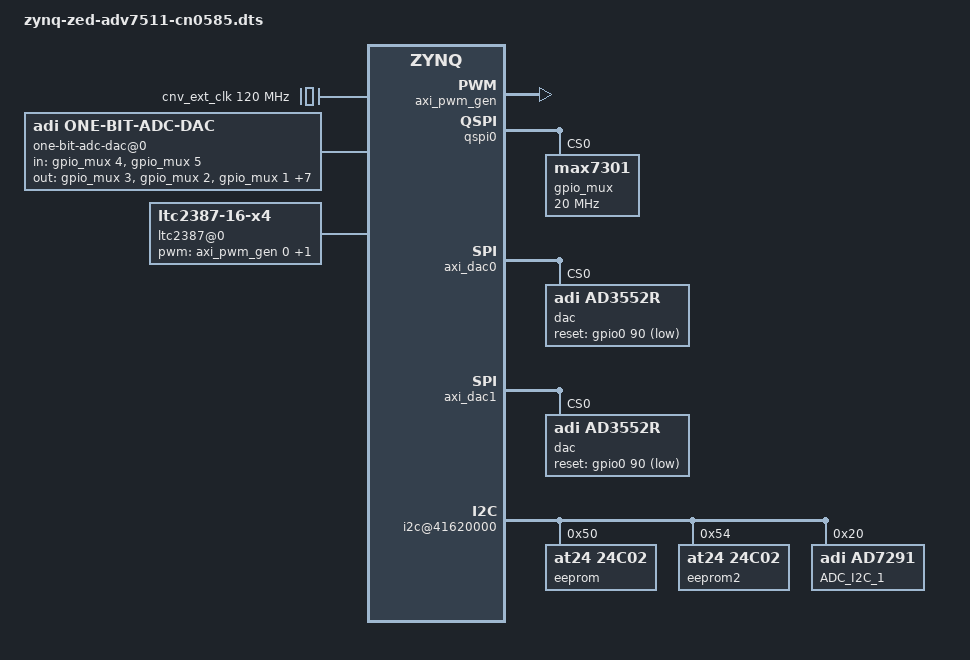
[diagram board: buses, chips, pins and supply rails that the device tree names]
/dts-v1/;

#include "zynq-zed.dtsi"
#include "zynq-zed-adv7511.dtsi"
#include <dt-bindings/interrupt-controller/irq.h>
#include <dt-bindings/gpio/gpio.h>
#include <dt-bindings/pwm/pwm.h>

/ {
	clocks {
		cnv_ext_clk: ext-clk {
			#clock-cells = <0x0>;
			compatible = "fixed-clock";
			clock-frequency = <120000000>;
			clock-output-names = "cnv_ext_clk";
		};
	};

	one-bit-adc-dac@0 {
		compatible = "adi,one-bit-adc-dac";
		#address-cells = <1>;
		#size-cells = <0>;

		in-gpios =  <&gpio_mux 4 GPIO_ACTIVE_HIGH>,
				<&gpio_mux 5 GPIO_ACTIVE_HIGH>;
		out-gpios = <&gpio_mux 3 GPIO_ACTIVE_HIGH>,
				<&gpio_mux 2 GPIO_ACTIVE_HIGH>,
				<&gpio_mux 1 GPIO_ACTIVE_HIGH>,
				<&gpio_mux 0 GPIO_ACTIVE_HIGH>,
				<&gpio_mux 6 GPIO_ACTIVE_HIGH>,
				<&gpio_mux 7 GPIO_ACTIVE_HIGH>,
				<&gpio_mux 11 GPIO_ACTIVE_HIGH>,
				<&gpio_mux 12 GPIO_ACTIVE_HIGH>,
				<&gpio_mux 13 GPIO_ACTIVE_HIGH>,
				<&gpio_mux 14 GPIO_ACTIVE_HIGH>;

		channel@0 {
			reg = <0>;
			label = "GPIO4_VIO";
		};
		channel@1 {
			reg = <1>;
			label = "GPIO5_VIO";
		};
		channel@2 {
			reg = <2>;
			label = "GPIO0_VIO";
		};
		channel@3 {
			reg = <3>;
			label = "GPIO1_VIO";
		};
		channel@4 {
			reg = <4>;
			label = "GPIO2_VIO";
		};
		channel@5 {
			reg = <5>;
			label = "GPIO3_VIO";
		};
		channel@6 {
			reg = <6>;
			label = "GPIO6_VIO";
		};
		channel@7 {
			reg = <7>;
			label = "GPIO7_VIO";
		};
		channel@8 {
			reg = <8>;
			label = "PAD_ADC0";
		};
		channel@9 {
			reg = <9>;
			label = "PAD_ADC1";
		};
		channel@10 {
			reg = <10>;
			label = "PAD_ADC2";
		};
		channel@11 {
			reg = <11>;
			label = "PAD_ADC3";
		};
	};
};

&fpga_axi {
	axi_pwm_gen: pwm@44B10000 {
		compatible = "adi,axi-pwmgen";
		reg = <0x44B10000 0x1000>;
		label = "ltc2387_if";
		#pwm-cells = <2>;
		clocks = <&cnv_ext_clk>;
	};

	ref_clk: clock-controller@44B00000 {
		compatible = "adi,axi-clkgen-2.00.a";
		reg = <0x44B00000 0x10000>;
		#clock-cells = <0>;
		clocks = <&clkc 15>, <&clkc 15>;
		clock-names = "s_axi_aclk", "clkin1";
		clock-output-names = "ref_clk";
	};

	rx_dma: dma-controller@44A40000 {
		compatible = "adi,axi-dmac-1.00.a";
		reg = <0x44A40000 0x1000>;
		#dma-cells = <1>;
		interrupt-parent = <&intc>;
		interrupts = <0 57 IRQ_TYPE_LEVEL_HIGH>;
		clocks = <&clkc 15>;

		adi,channels {
			#size-cells = <0>;
			#address-cells = <1>;

			dma-channel@0 {
				reg = <0>;
				adi,source-bus-width = <64>;
				adi,source-bus-type = <2>;
				adi,destination-bus-width = <64>;
				adi,destination-bus-type = <0>;
			};
		};
	};

	ltc2387@0{
		compatible = "ltc2387-16-x4";
		pwms = <&axi_pwm_gen 0 0
			&axi_pwm_gen 1 0>;
		pwm-names = "cnv", "clk_en";
		clocks = <&ref_clk>;
		dmas = <&rx_dma 0>;
		dma-names = "rx";
		adi,use-two-lanes;
	};

	qspi0: spi@0x44B20000 {
		#address-cells = <1>;
		#size-cells = <0>;
		reg = <0x44B20000 0x1000>;
		num-cs = <0x2>;
		compatible = "xlnx,xps-spi-2.00.a";
		bits-per-word = <16>;
		fifo-size = <16>;
		clock-names = "ext_spi_clk", "s_axi_aclk";
		clocks = <&clkc 15>, <&clkc 15>;
		interrupt-names = "ip2intc_irpt";
		interrupt-parent = <&intc>;
		interrupts = <0 52 IRQ_TYPE_LEVEL_HIGH>;

		gpio_mux: max7301@0 {
			compatible = "max7301";
			reg = <0>;
			spi-max-frequency = <20000000>;
			#gpio-cells = <2>;
			gpio-controller;
		};
	};

	dac0_tx_dma: dma-controller@0x44D30000 {
		compatible = "adi,axi-dmac-1.00.a";
		reg = <0x44D30000 0x10000>;
		#dma-cells = <1>;
		interrupt-parent = <&intc>;
		interrupts = <0 34 IRQ_TYPE_LEVEL_HIGH>;
		clocks = <&clkc 15>;

		adi,channels {
			#size-cells = <0>;
			#address-cells = <1>;

			dma-channel@0 {
				reg = <0>;
				adi,source-bus-width = <32>;
				adi,source-bus-type = <0>;
				adi,destination-bus-width = <32>;
				adi,destination-bus-type = <1>;
			};
		};
	};

	dac1_tx_dma: dma-controller@0x44E30000 {
		compatible = "adi,axi-dmac-1.00.a";
		reg = <0x44E30000 0x10000>;
		#dma-cells = <1>;
		interrupt-parent = <&intc>;
		interrupts = <0 33 IRQ_TYPE_LEVEL_HIGH>;
		clocks = <&clkc 15>;

		adi,channels {
			#size-cells = <0>;
			#address-cells = <1>;

			dma-channel@0 {
				reg = <0>;
				adi,source-bus-width = <32>;
				adi,source-bus-type = <0>;
				adi,destination-bus-width = <32>;
				adi,destination-bus-type = <1>;
			};
		};
	};

	axi_dac0: spi@44D00000 {
		compatible = "adi,axi-ad3552r";
		reg = <0x44D00000 0x1000>;
		dmas = <&dac0_tx_dma 0>;
		dma-names = "tx";
		#io-backend-cells = <0>;
		clocks = <&clkc 15>, <&ref_clk>;
		clock-names = "s_axi_aclk", "dac_clk";

		#address-cells = <1>;
		#size-cells = <0>;

		dac@0 {
			reg = <0>;
			compatible = "adi,ad3552r";
			reset-gpios = <&gpio0 90 GPIO_ACTIVE_LOW>;
			io-backends = <&axi_dac0>;

			spi-3-wire;
			spi-tx-bus-width = <4>;
			spi-rx-bus-width = <4>;

			adi,qspi-state = "high";
			#address-cells = <1>;
			#size-cells = <0>;

			channel@0 {
				reg = <0>;
				adi,output-range-microvolt = <0 5000000>;
			};

			channel@1 {
				reg = <1>;
				adi,output-range-microvolt = <0 5000000>;
			};
		};

	};

	axi_dac1: spi@44E00000 {
		compatible = "adi,axi-ad3552r";
		reg = <0x44E00000 0x1000>;
		dmas = <&dac1_tx_dma 0>;
		dma-names = "tx";
		#io-backend-cells = <0>;
		clocks = <&clkc 15>, <&ref_clk>;
		clock-names = "s_axi_aclk", "dac_clk";

		#address-cells = <1>;
		#size-cells = <0>;

		dac@0 {
			reg = <0>;
			compatible = "adi,ad3552r";
			reset-gpios = <&gpio0 90 GPIO_ACTIVE_LOW>;
			io-backends = <&axi_dac1>;

			spi-3-wire;
			spi-tx-bus-width = <4>;
			spi-rx-bus-width = <4>;

			adi,qspi-state = "high";
			#address-cells = <1>;
			#size-cells = <0>;

			channel@0 {
				reg = <0>;
				adi,output-range-microvolt = <0 5000000>;
			};

			channel@1 {
				reg = <1>;
				adi,output-range-microvolt = <0 5000000>;
			};
		};
	};

	
	mwipcore@43c00000 {
		compatible = "mathworks,mwipcore-v3.00";
		reg = <0x43C00000 0xfffff>;
		#address-cells = <1>;
		#size-cells = <0>;
		mmwr-channel@0{
				reg = <0x0>;
				compatible = "mathworks,mm-write-channel-v1.00";
		};
		mmrd-channel@1{
				reg = <0x1>;
				compatible = "mathworks,mm-read-channel-v1.00";
		};
	
		
	};

	i2c@41620000 {
		compatible = "xlnx,axi-iic-1.01.b", "xlnx,xps-iic-2.00.a";
		reg = <0x41620000 0x10000>;
		interrupt-parent = <&intc>;
		interrupts = <0 55 IRQ_TYPE_LEVEL_HIGH>;
		clocks = <&clkc 15>;
		clock-names = "pclk";

		#size-cells = <0>;
		#address-cells = <1>;

		eeprom@50 {
			compatible = "at24,24c02";
			reg = <0x50>;
		};
		eeprom2@54 {
			compatible = "at24,24c02";
			reg = <0x54>;
		};
		ad7291_1@20 {
			label = "ADC_I2C_1";
			compatible = "adi,ad7291";
			reg = <0x20>;
		};

	};
};
